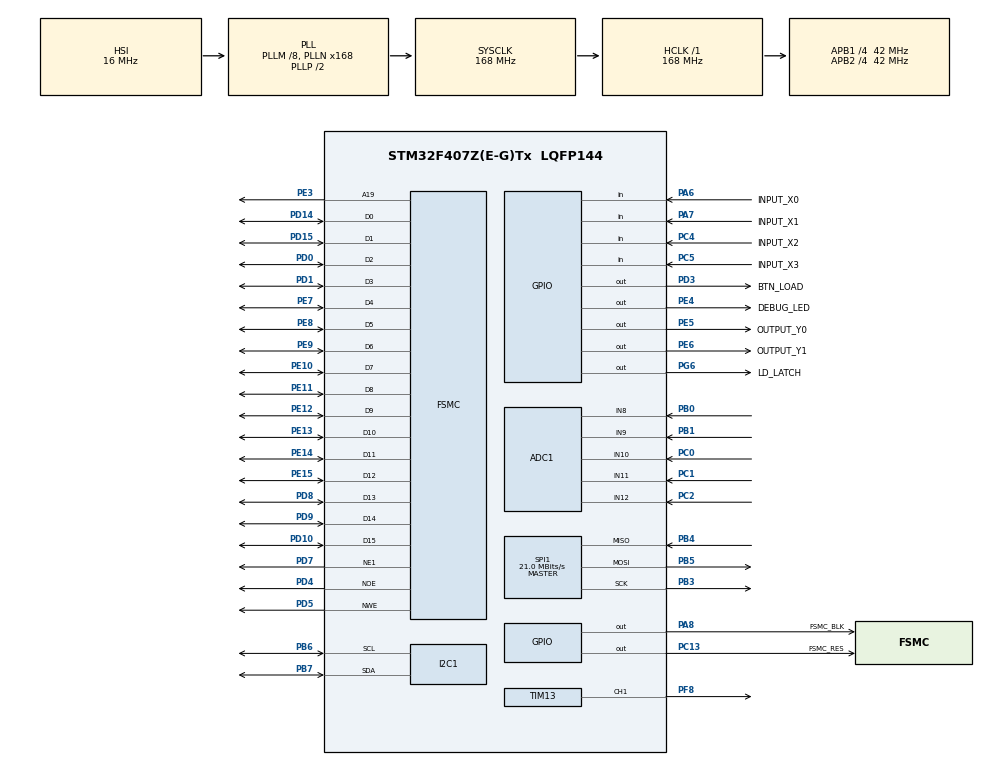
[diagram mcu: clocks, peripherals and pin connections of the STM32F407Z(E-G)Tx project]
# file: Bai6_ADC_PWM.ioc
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ADC1.Channel-0\#ChannelRegularConversion=ADC_CHANNEL_8
ADC1.Channel-1\#ChannelRegularConversion=ADC_CHANNEL_9
ADC1.Channel-2\#ChannelRegularConversion=ADC_CHANNEL_10
ADC1.Channel-3\#ChannelRegularConversion=ADC_CHANNEL_11
ADC1.Channel-4\#ChannelRegularConversion=ADC_CHANNEL_12
ADC1.NbrOfConversion=5
ADC1.NbrOfConversionFlag=1
ADC1.Rank-0\#ChannelRegularConversion=1
ADC1.Rank-1\#ChannelRegularConversion=2
ADC1.Rank-2\#ChannelRegularConversion=3
ADC1.Rank-3\#ChannelRegularConversion=4
ADC1.Rank-4\#ChannelRegularConversion=5
ADC1.SamplingTime-0\#ChannelRegularConversion=ADC_SAMPLETIME_3CYCLES
ADC1.SamplingTime-1\#ChannelRegularConversion=ADC_SAMPLETIME_3CYCLES
ADC1.SamplingTime-2\#ChannelRegularConversion=ADC_SAMPLETIME_3CYCLES
ADC1.SamplingTime-3\#ChannelRegularConversion=ADC_SAMPLETIME_3CYCLES
ADC1.SamplingTime-4\#ChannelRegularConversion=ADC_SAMPLETIME_3CYCLES
ADC1.ScanConvMode=ENABLE
ADC1.master=1
Dma.ADC1.0.Direction=DMA_PERIPH_TO_MEMORY
Dma.ADC1.0.FIFOMode=DMA_FIFOMODE_DISABLE
Dma.ADC1.0.Instance=DMA2_Stream0
Dma.ADC1.0.MemDataAlignment=DMA_MDATAALIGN_HALFWORD
Dma.ADC1.0.MemInc=DMA_MINC_ENABLE
Dma.ADC1.0.Mode=DMA_CIRCULAR
Dma.ADC1.0.PeriphDataAlignment=DMA_PDATAALIGN_HALFWORD
Dma.ADC1.0.PeriphInc=DMA_PINC_DISABLE
Dma.ADC1.0.Priority=DMA_PRIORITY_LOW
Dma.Request0=ADC1
FSMC.AddressSetupTime1=0xf
FSMC.BusTurnAroundDuration1=0
FSMC.DataSetupTime1=60
FSMC.ExtendedAddressSetupTime1=8
FSMC.ExtendedBusTurnAroundDuration1=0
FSMC.ExtendedDataSetupTime1=9
FSMC.ExtendedMode1=FSMC_EXTENDED_MODE_ENABLE
Mcu.Family=STM32F4
Mcu.Name=STM32F407Z(E-G)Tx
Mcu.Package=LQFP144
NVIC.DMA2_Stream0_IRQn=true\:0\:0\:false\:false\:true\:false\:true
NVIC.PriorityGroup=NVIC_PRIORITYGROUP_4
NVIC.TIM2_IRQn=true\:0\:0\:false\:false\:true\:true\:true
PA13.Mode=Serial_Wire
PA13.Signal=SYS_JTMS-SWDIO
PA14.Mode=Serial_Wire
PA14.Signal=SYS_JTCK-SWCLK
PA6.GPIO_Label=INPUT_X0
PA6.Signal=GPIO_Input
PA7.GPIO_Label=INPUT_X1
PA7.Signal=GPIO_Input
PA8.GPIO_Label=FSMC_BLK
PA8.Signal=GPIO_Output
PB0.Signal=ADCx_IN8
PB1.Signal=ADCx_IN9
PB3.Mode=Full_Duplex_Master
PB3.Signal=SPI1_SCK
PB4.Mode=Full_Duplex_Master
PB4.Signal=SPI1_MISO
PB5.Mode=Full_Duplex_Master
PB5.Signal=SPI1_MOSI
PB6.Mode=I2C
PB6.Signal=I2C1_SCL
PB7.Mode=I2C
PB7.Signal=I2C1_SDA
PC0.Signal=ADCx_IN10
PC1.Signal=ADCx_IN11
PC13-ANTI_TAMP.GPIO_Label=FSMC_RES
PC13-ANTI_TAMP.Signal=GPIO_Output
PC2.Signal=ADCx_IN12
PC4.GPIO_Label=INPUT_X2
PC4.Signal=GPIO_Input
PC5.GPIO_Label=INPUT_X3
PC5.Signal=GPIO_Input
PD0.Signal=FSMC_D2_DA2
PD1.Signal=FSMC_D3_DA3
PD10.Signal=FSMC_D15_DA15
PD14.Signal=FSMC_D0_DA0
PD15.Signal=FSMC_D1_DA1
PD3.GPIO_Label=BTN_LOAD
PD3.Signal=GPIO_Output
PD4.Signal=FSMC_NOE
PD5.Signal=FSMC_NWE
PD7.Mode=NorPsramChipSelect1_1
PD7.Signal=FSMC_NE1
PD8.Signal=FSMC_D13_DA13
PD9.Signal=FSMC_D14_DA14
PE10.Signal=FSMC_D7_DA7
PE11.Signal=FSMC_D8_DA8
PE12.Signal=FSMC_D9_DA9
PE13.Signal=FSMC_D10_DA10
PE14.Signal=FSMC_D11_DA11
PE15.Signal=FSMC_D12_DA12
PE3.Signal=FSMC_A19
PE4.GPIO_Label=DEBUG_LED
PE4.Signal=GPIO_Output
PE5.GPIO_Label=OUTPUT_Y0
PE5.Signal=GPIO_Output
PE6.GPIO_Label=OUTPUT_Y1
PE6.Signal=GPIO_Output
PE7.Signal=FSMC_D4_DA4
PE8.Signal=FSMC_D5_DA5
PE9.Signal=FSMC_D6_DA6
PF8.Signal=S_TIM13_CH1
PG6.GPIO_Label=LD_LATCH
PG6.Signal=GPIO_Output
PH0-OSC_IN.Mode=HSE-External-Oscillator
PH0-OSC_IN.Signal=RCC_OSC_IN
PH1-OSC_OUT.Mode=HSE-External-Oscillator
PH1-OSC_OUT.Signal=RCC_OSC_OUT
ProjectManager.HeapSize=0x200
ProjectManager.StackSize=0x400
ProjectManager.TargetToolchain=STM32CubeIDE
RCC.48MHZClocksFreq_Value=84000000
RCC.AHBFreq_Value=168000000
RCC.APB1CLKDivider=RCC_HCLK_DIV4
RCC.APB1Freq_Value=42000000
RCC.APB1TimFreq_Value=84000000
RCC.APB2CLKDivider=RCC_HCLK_DIV4
RCC.APB2Freq_Value=42000000
RCC.APB2TimFreq_Value=84000000
RCC.CortexFreq_Value=168000000
RCC.HCLKFreq_Value=168000000
RCC.HSE_VALUE=8000000
RCC.HSI_VALUE=16000000
RCC.LSE_VALUE=32768
RCC.PLLM=8
RCC.PLLN=168
RCC.SYSCLKFreq_VALUE=168000000
RCC.SYSCLKSource=RCC_SYSCLKSOURCE_PLLCLK
RCC.VCOOutputFreq_Value=336000000
SH.ADCx_IN10.0=ADC1_IN10,IN10
SH.ADCx_IN11.0=ADC1_IN11,IN11
SH.ADCx_IN12.0=ADC1_IN12,IN12
SH.ADCx_IN8.0=ADC1_IN8,IN8
SH.ADCx_IN9.0=ADC1_IN9,IN9
SH.FSMC_A19.0=FSMC_A19,A19_1
SH.FSMC_D0_DA0.0=FSMC_D0,16b-d1
SH.FSMC_D10_DA10.0=FSMC_D10,16b-d1
SH.FSMC_D11_DA11.0=FSMC_D11,16b-d1
SH.FSMC_D12_DA12.0=FSMC_D12,16b-d1
SH.FSMC_D13_DA13.0=FSMC_D13,16b-d1
SH.FSMC_D14_DA14.0=FSMC_D14,16b-d1
SH.FSMC_D15_DA15.0=FSMC_D15,16b-d1
SH.FSMC_D1_DA1.0=FSMC_D1,16b-d1
SH.FSMC_D2_DA2.0=FSMC_D2,16b-d1
SH.FSMC_D3_DA3.0=FSMC_D3,16b-d1
SH.FSMC_D4_DA4.0=FSMC_D4,16b-d1
SH.FSMC_D5_DA5.0=FSMC_D5,16b-d1
SH.FSMC_D6_DA6.0=FSMC_D6,16b-d1
SH.FSMC_D7_DA7.0=FSMC_D7,16b-d1
SH.FSMC_D8_DA8.0=FSMC_D8,16b-d1
SH.FSMC_D9_DA9.0=FSMC_D9,16b-d1
SH.FSMC_NOE.0=FSMC_NOE,Lcd1
SH.FSMC_NWE.0=FSMC_NWE,Lcd1
SH.S_TIM13_CH1.0=TIM13_CH1,PWM Generation1 CH1
SPI1.BaudRatePrescaler=SPI_BAUDRATEPRESCALER_2
SPI1.CalculateBaudRate=21.0 MBits/s
SPI1.Direction=SPI_DIRECTION_2LINES
SPI1.Mode=SPI_MODE_MASTER
SPI1.VirtualType=VM_MASTER
TIM13.Channel=TIM_CHANNEL_1
TIM13.Period=100-1
TIM13.Prescaler=840-1
TIM2.Period=100-1
TIM2.Prescaler=840-1
VP_TIM13_VS_ClockSourceINT.Mode=Enable_Timer
VP_TIM2_VS_ClockSourceINT.Mode=Internal
board=custom

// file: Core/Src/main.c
/* USER CODE BEGIN Header */
/**
  ******************************************************************************
  * @file           : main.c
  * @brief          : Main program body
  ******************************************************************************
  * @attention
  *
  * <h2><center>&copy; Copyright (c) 2023 STMicroelectronics.
  * All rights reserved.</center></h2>
  *
  * This software component is licensed by ST under BSD 3-Clause license,
  * the "License"; You may not use this file except in compliance with the
  * License. You may obtain a copy of the License at:
  *                        opensource.org/licenses/BSD-3-Clause
  *
  ******************************************************************************
  */
/* USER CODE END Header */
#include "main.h"
#include "adc.h"
#include "dma.h"
#include "i2c.h"
#include "spi.h"
#include "tim.h"
#include "gpio.h"
#include "fsmc.h"

/* USER CODE BEGIN Includes */
#include "software_timer.h"
#include "led_7seg.h"
#include "button.h"
#include "lcd.h"
#include "picture.h"
#include "ds3231.h"
#include "sensor.h"
#include "buzzer.h"
/* USER CODE END Includes */

void SystemClock_Config(void);
/* USER CODE BEGIN PFP */
void system_init();
void test_LedDebug();
void test_Buzzer();
void test_Adc();
/* USER CODE END PFP */

int main(void)
{

  /* MCU Configuration--------------------------------------------------------*/

  /* Reset of all peripherals, Initializes the Flash interface and the Systick. */
  HAL_Init();

  /* Configure the system clock */
  SystemClock_Config();

  /* Initialize all configured peripherals */
  MX_GPIO_Init();
  MX_TIM2_Init();
  MX_SPI1_Init();
  MX_FSMC_Init();
  MX_I2C1_Init();
  MX_TIM13_Init();
  MX_DMA_Init();
  MX_ADC1_Init();
  /* USER CODE BEGIN 2 */
  system_init();
  /* USER CODE END 2 */

  /* Infinite loop */
  /* USER CODE BEGIN WHILE */
 lcd_Clear(BLACK);
  while (1)
  {
	  while(!flag_timer2);
	  flag_timer2 = 0;
	  button_Scan();
	  test_LedDebug();
	  test_Adc();
	  test_Buzzer();
    /* USER CODE END WHILE */

  }
}

void SystemClock_Config(void)
{
  RCC_OscInitTypeDef RCC_OscInitStruct = {0};
  RCC_ClkInitTypeDef RCC_ClkInitStruct = {0};

  /** Configure the main internal regulator output voltage
  */
  __HAL_RCC_PWR_CLK_ENABLE();
  __HAL_PWR_VOLTAGESCALING_CONFIG(PWR_REGULATOR_VOLTAGE_SCALE1);
  /** Initializes the RCC Oscillators according to the specified parameters
  * in the RCC_OscInitTypeDef structure.
  */
  RCC_OscInitStruct.OscillatorType = RCC_OSCILLATORTYPE_HSI;
  RCC_OscInitStruct.HSIState = RCC_HSI_ON;
  RCC_OscInitStruct.HSICalibrationValue = RCC_HSICALIBRATION_DEFAULT;
  RCC_OscInitStruct.PLL.PLLState = RCC_PLL_ON;
  RCC_OscInitStruct.PLL.PLLSource = RCC_PLLSOURCE_HSI;
  RCC_OscInitStruct.PLL.PLLM = 8;
  RCC_OscInitStruct.PLL.PLLN = 168;
  RCC_OscInitStruct.PLL.PLLP = RCC_PLLP_DIV2;
  RCC_OscInitStruct.PLL.PLLQ = 4;
  if (HAL_RCC_OscConfig(&RCC_OscInitStruct) != HAL_OK)
  {
    Error_Handler();
  }
  /** Initializes the CPU, AHB and APB buses clocks
  */
  RCC_ClkInitStruct.ClockType = RCC_CLOCKTYPE_HCLK|RCC_CLOCKTYPE_SYSCLK
                              |RCC_CLOCKTYPE_PCLK1|RCC_CLOCKTYPE_PCLK2;
  RCC_ClkInitStruct.SYSCLKSource = RCC_SYSCLKSOURCE_PLLCLK;
  RCC_ClkInitStruct.AHBCLKDivider = RCC_SYSCLK_DIV1;
  RCC_ClkInitStruct.APB1CLKDivider = RCC_HCLK_DIV4;
  RCC_ClkInitStruct.APB2CLKDivider = RCC_HCLK_DIV4;

  if (HAL_RCC_ClockConfig(&RCC_ClkInitStruct, FLASH_LATENCY_5) != HAL_OK)
  {
    Error_Handler();
  }
}

/* USER CODE BEGIN 4 */
void system_init(){
	timer_init();
	button_init();
	lcd_init();
	sensor_init();
	buzzer_init();
	setTimer2(50);
	led7_init();
	ds3231_init();
}

uint8_t count_led_debug = 0;

void test_LedDebug(){
	count_led_debug = (count_led_debug + 1)%20;
	if(count_led_debug == 0){
		HAL_GPIO_TogglePin(DEBUG_LED_GPIO_Port, DEBUG_LED_Pin);
	}
}

uint8_t isButtonUp()
{
    if (button_count[3] == 1)
        return 1;
    else
        return 0;
}

uint8_t isButtonDown()
{
    if (button_count[7] == 1)
        return 1;
    else
        return 0;
}

uint8_t isButtonRight()
{
    if (button_count[11] == 1)
        return 1;
    else
        return 0;
}

uint8_t count_adc = 0;
uint8_t alarm_state = 0;  // 0: No alarm, 1: Alarm active
uint32_t last_buzzer_toggle_time = 0;  // To track the last time buzzer was toggled

float get_PowerConsumption() {
	return sensor_GetVoltage() * sensor_GetCurrent() * 1000;
}

float get_Humidity() {
	return ((float)sensor_GetPotentiometer() / 4095.0) * 100;
}

void display_time() {
    // Read the current time from DS3231
    ds3231_ReadTime();

    // Extract hours and minutes
    uint8_t hours = ds3231_hours - 6;
    uint8_t minutes = ds3231_min;

    // Set the digits on the 7-segment display
    led7_SetDigit(hours / 10, 0, 0);  // Display the tens place of hours
    led7_SetDigit(hours % 10, 1, 0);  // Display the ones place of hours
    led7_SetDigit(minutes / 10, 2, 0); // Display the tens place of minutes
    led7_SetDigit(minutes % 10, 3, 0); // Display the ones place of minutes

    // Set the colon (:) between hours and minutes
    led7_SetColon(1); // Turn on colon
}

void test_Adc() {
	count_adc = (count_adc + 1) % 20;
	if(count_adc == 0){
		sensor_Read();
		lcd_ShowStr(10, 100, "Power consumption:", RED, BLACK, 16, 0);
		lcd_ShowIntNum(160, 100, get_PowerConsumption(), 4, RED, BLACK, 16);
		lcd_ShowStr(10, 130, "Light:", RED, BLACK, 16, 0);
		if (sensor_GetLight() >= 1750) {
			lcd_ShowStr(160, 130, "Strong", RED, BLACK, 16, 0);
		} else {
			lcd_ShowStr(160, 130, "Weak  ", RED, BLACK, 16, 0);
		}
		lcd_ShowStr(10, 160, "Temperature:", RED, BLACK, 16, 0);
		lcd_ShowFloatNum(160, 160, sensor_GetTemperature(), 4, RED, BLACK, 16);
		lcd_ShowStr(10, 190, "Humidity:", RED, BLACK, 16, 0);
		lcd_ShowFloatNum(160, 190, get_Humidity(), 4, RED, BLACK, 16);

		// Check condition to alarm if humidity is larger than 70%
		if (get_Humidity() > 70) {
			if (alarm_state == 0) {
				alarm_state = 1;
				last_buzzer_toggle_time = HAL_GetTick(); // Store the current time for buzzer toggle
			}
		} else {
			alarm_state = 0;
			buzzer_SetVolume(0);  // Ensure the buzzer is off if no alarm
		}

		// If in alarm state, toggle the buzzer every second
		if (alarm_state == 1) {
			uint32_t current_time = HAL_GetTick();
		    if (current_time - last_buzzer_toggle_time >= 1000) {  // Check if 1 second has passed
		    	last_buzzer_toggle_time = current_time;  // Update the last toggle time
		        static uint8_t buzzer_on = 0;  // Track the buzzer state (on/off)
		        if (buzzer_on) {
		        	buzzer_SetVolume(0);  // Turn off buzzer
		        } else {
		        	buzzer_SetVolume(25);  // Turn on buzzer (25% volume)
		        }
		            buzzer_on = !buzzer_on;  // Toggle buzzer state
		    }
		}
	}
	display_time();
}

void test_Buzzer(){
	if(isButtonUp()){
		buzzer_SetVolume(50);
	}

	if(isButtonDown()){
		buzzer_SetVolume(0);
	}

	if(isButtonRight()){
		buzzer_SetVolume(25);
	}
}

/* USER CODE END 4 */

void Error_Handler(void)
{
  __disable_irq();
  while (1)
  {
  }
}

/************************ (C) COPYRIGHT STMicroelectronics *****END OF FILE****/
